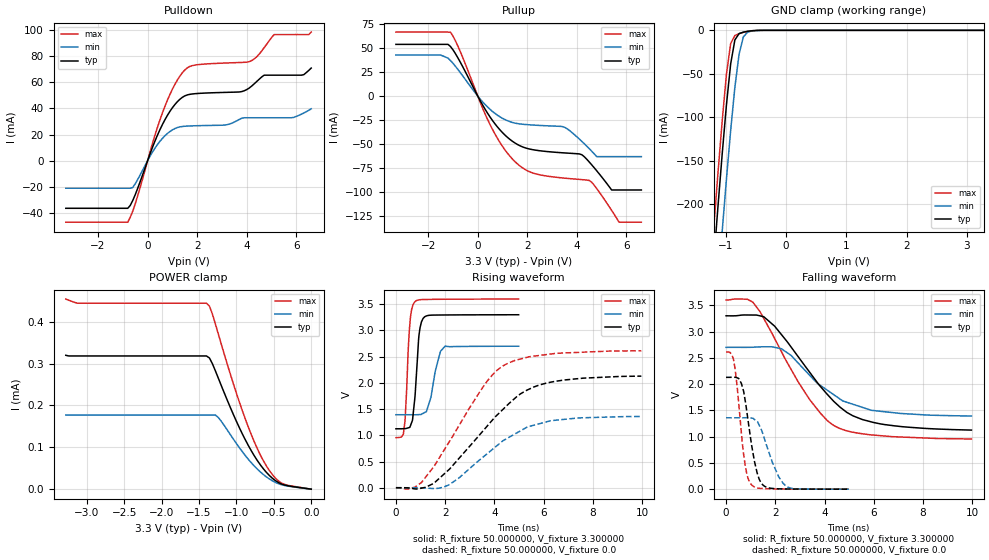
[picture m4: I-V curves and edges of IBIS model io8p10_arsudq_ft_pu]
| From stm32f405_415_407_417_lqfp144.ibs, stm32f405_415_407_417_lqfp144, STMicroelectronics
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|   Model io8p10_arsudq_ft_pu
[Model]  io8p10_arsudq_ft_pu
Model_type I/O
Polarity   Non-Inverting
Enable   Active-Low
Vinl =   0.990000V
Vinh =   2.310000V
Vmeas =  1.650000V
Cref =   40.000000pF
Rref =   100.000000M
Vref =   0.0V
C_comp   2.292100pF   2.228000pF   2.366600pF
[Temperature Range]   25.000000   0.125000k   -40.000000
[Pullup Reference]   3.300000V   2.700000V   3.600000V
[Pulldown Reference]   0.0V   0.0V   0.0V
[POWER Clamp Reference]   3.300000V   2.700000V   3.600000V
[GND Clamp Reference]   0.0V   0.0V   0.0V
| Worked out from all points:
|   slope of the pulldown table from 0 to 0.495 V, typ, clamps not added: 20.9 ohm
|   slope of the pullup table from 0 to 0.495 V, typ, clamps not added: 22.6 ohm
|   GND clamp passes 1 mA (typ) near -0.62 V on its own axis
|   rising waveform, R_fixture 50.000000, V_fixture 3.300000: 20-80 % time 193ps typ, 344ps min, 164ps max; typ from 1.12 V to 3.3 V
|   rising waveform, R_fixture 50.000000, V_fixture 0.0: 20-80 % time 2.51ns typ, 2.3ns min, 2.1ns max; typ from 0.001 V to 2.13 V
|   falling waveform, R_fixture 50.000000, V_fixture 3.300000: 20-80 % time 2.25ns typ, 2.05ns min, 2.03ns max; typ from 3.3 V to 1.12 V
|   falling waveform, R_fixture 50.000000, V_fixture 0.0: 20-80 % time 434ps typ, 634ps min, 339ps max; typ from 2.13 V to 0.001 V
[Pulldown]
|Voltage   I(typ)   I(min)   I(max)
-3.3V     -36.46mA   -21.09mA   -47.09mA
-800mV    -36.46mA   -21.09mA   -47.09mA
-600mV    -30.5mA    -20.55mA   -38.69mA
700mV     31.4mA     19.11mA    41.71mA
1.2V      45.15mA    25.37mA    61.75mA
1.6V      50.35mA    26.5mA     71.06mA
3.1V      52.28mA    27.26mA    74.76mA
4.1V      55.64mA    32.87mA    75.8mA
4.7V      65.47mA    32.87mA    86.49mA
5.1V      65.47mA    32.87mA    96.56mA
6.2V      65.47mA    35.57mA    96.56mA
6.6V      70.92mA    39.71mA    98.46mA
[Pullup]
|Voltage   I(typ)   I(min)   I(max)
-3.3V     54.06mA    42.89mA    66.91mA
-1.1V     51.85mA    37.21mA    66.69mA
500mV     -22.06mA   -14mA      -30.03mA
1.5V      -49.1mA    -28.3mA    -68.56mA
2.2V      -56.04mA   -30.32mA   -80.35mA
3.5V      -59.52mA   -32.65mA   -85.91mA
4.2V      -61.43mA   -47.48mA   -87.45mA
4.5V      -69.07mA   -55.12mA   -88.37mA
4.8V      -78.21mA   -63.4mA    -96.83mA
5.4V      -98.3mA    -63.4mA    -119.6mA
5.7V      -98.3mA    -63.4mA    -132mA
6.6V      -98.3mA    -63.4mA    -132mA
[GND_clamp]
|Voltage   I(typ)   I(min)   I(max)
-3.3V     -2.318A    -2.397A    -2.291A
-1.2V     -265.5mA   -356.1mA   -227.2mA
-1.13V    -202.6mA   -292.9mA   -164.1mA
-1.06V    -142.2mA   -231.2mA   -104.1mA
-990mV    -85.98mA   -171.6mA   -50.72mA
-920mV    -38.8mA    -115.5mA   -15.28mA
-850mV    -11.08mA   -65.6mA    -6.001mA
-780mV    -3.782mA   -27.42mA   -3.876mA
-710mV    -2.086mA   -7.69mA    -2.381mA
-640mV    -1.147mA   -2.118mA   -1.22mA
-570mV    -523.9uA   -798.4uA   -476.8uA
3.28V     0A         0A         0A
[POWER_clamp]
|Voltage   I(typ)   I(min)   I(max)
-3.28V    319.9uA    177.1uA    454.3uA
-3.12V    318.3uA    177.1uA    444.3uA
-1.4V     318.3uA    177.1uA    444.3uA
-1.36V    313.4uA    177.1uA    437.2uA
-1.28V    282.3uA    177.1uA    394.1uA
-1.24V    264.6uA    170.9uA    369.7uA
-920mV    131.9uA    89.35uA    187.2uA
-760mV    79.47uA    55.13uA    112.7uA
-640mV    48.78uA    35.04uA    68.06uA
-520mV    26.21uA    20.11uA    35uA
-400mV    12.52uA    10.81uA    14.88uA
0V        0A         0A         0A
[Ramp]
| variable   typ   min   max
dV/dt_r  1.26721/2.51355n   0.81177/2.30031n   1.56436/2.10735n
dV/dt_f  1.28244/2.23958n   0.77706/2.04696n   1.57435/2.02860n
R_load = 50.000000
[Rising Waveform]
R_fixture= 50.000000
V_fixture= 3.300000
V_fixture_min= 2.700000
V_fixture_max= 3.600000
|time   V(typ)   V(min)   V(max)
0s        1.125V     1.393V     955.6mV
300.3ps   1.127V     1.393V     1.018V
370.4ps   1.129V     1.393V     1.283V
550.6ps   1.15V      1.393V     3.036V
760.8ps   1.677V     1.392V     3.541V
940.9ps   2.926V     1.395V     3.584V
1.171ns   3.262V     1.436V     3.591V
1.802ns   3.295V     2.589V     3.595V
2.002ns   3.296V     2.701V     3.596V
4.985ns   3.3V       2.7V       3.599V
[Rising Waveform]
R_fixture= 50.000000
V_fixture= 0.0
V_fixture_min= 0.0
V_fixture_max= 0.0
|time   V(typ)   V(min)   V(max)
0s        1.433mV    1.24mV     1.815mV
460.5ps   -1.38mV    1.176mV    -26.25mV
1.041ns   -6.47mV    -874.7uV   103mV
1.542ns   86.59mV    -15.81mV   404.9mV
2.142ns   341mV      53.61mV    859.2mV
3.624ns   1.131V     617.9mV    1.981V
4.424ns   1.531V     917.4mV    2.345V
5.305ns   1.858V     1.152V     2.487V
6.166ns   2.002V     1.264V     2.544V
9.97ns    2.129V     1.359V     2.612V
[Falling Waveform]
R_fixture= 50.000000
V_fixture= 3.300000
V_fixture_min= 2.700000
V_fixture_max= 3.600000
|time   V(typ)   V(min)   V(max)
0s        3.3V       2.7V       3.599V
880.9ps   3.315V     2.7V       3.612V
1.081ns   3.315V     2.702V     3.562V
1.542ns   3.278V     2.711V     3.242V
2.242ns   2.947V     2.674V     2.625V
3.383ns   2.234V     2.175V     1.715V
4.404ns   1.659V     1.789V     1.206V
5.165ns   1.395V     1.615V     1.084V
6.286ns   1.242V     1.482V     1.019V
9.97ns    1.125V     1.393V     955.6mV
[Falling Waveform]
R_fixture= 50.000000
V_fixture= 0.0
V_fixture_min= 0.0
V_fixture_max= 0.0
|time   V(typ)   V(min)   V(max)
0s        2.129V     1.359V     2.612V
300.3ps   2.13V      1.359V     2.474V
450.5ps   2.12V      1.359V     1.954V
620.6ps   2.016V     1.359V     1.082V
840.8ps   1.489V     1.361V     297.4mV
1.041ns   830.6mV    1.353V     82.26mV
1.451ns   104.3mV    1.114V     14.53mV
1.882ns   15.02mV    511.5mV    6.899mV
2.432ns   4.964mV    63.51mV    4.142mV
4.985ns   1.433mV    1.24mV     1.815mV
